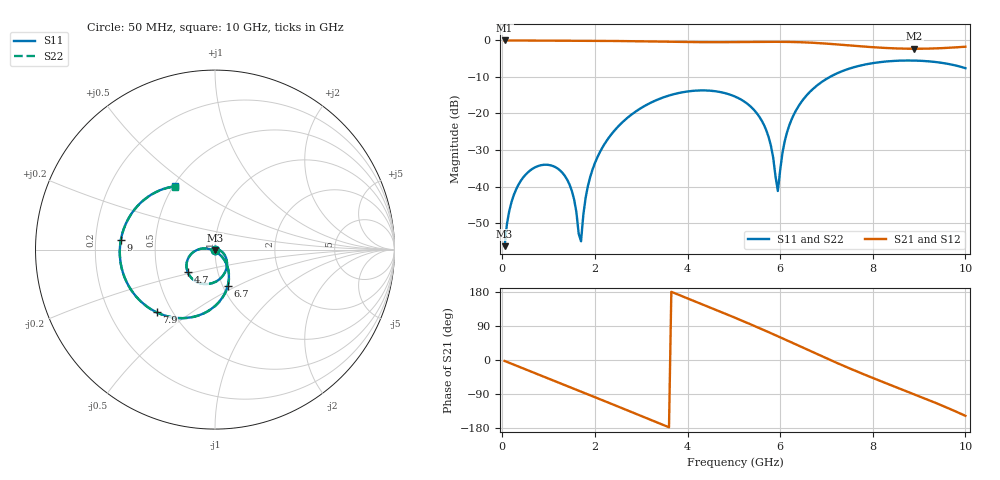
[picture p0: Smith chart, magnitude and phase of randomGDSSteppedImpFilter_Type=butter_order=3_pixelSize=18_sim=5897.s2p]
! freq	dB(S11)	phase(S11)	dB(S12)	phase(S12)
!  dB(S21)	phase(S21)	dB(S22)	phase(S22)
!S-par simulation data
#  GHz  S  DB  R 50
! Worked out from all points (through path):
!   200 points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, 50 MHz to 10 GHz, reference 50 ohm
!   highest |S21| = -0.01 dB at 50 MHz (marker M1); lowest = -2.3 dB at 8.9 GHz (marker M2)
!   group delay of S21, straight-line fit = 142 ps
!   lowest |S11| = -56.3 dB at 50 MHz (marker M3), VSWR 1.00, Z = 50 - j0.153 ohm
!   |S11| at or under -10 dB: start of sweep to 7.073 GHz
!   |S22| runs from -56.3 to -5.5 dB; largest |S21 - S12| = 0
!   S11 on the Smith chart (normalised r, x): 50 MHz: 1.00, -0.00; 4.7 GHz: 0.72, -0.19; 6.7 GHz: 1.05, -0.45; 7.9 GHz: 0.41, -0.37; 9 GHz: 0.31, +0.05; 10 GHz: 0.51, +0.44
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0.05  -56.31 -89.0  -0.01 -2.5  -0.01 -2.5  -56.31 -89.0
0.25  -42.26 -100.2  -0.02 -12.3  -0.02 -12.3  -42.26 -100.2
0.75  -34.49 -127.2  -0.04 -36.7  -0.04 -36.7  -34.49 -127.2
1.4  -38.08 -163.9  -0.08 -68.5  -0.08 -68.5  -38.08 -163.9
1.7  -54.97 66.3  -0.09 -83.3  -0.09 -83.3  -54.93 66.5
1.75  -47.73 25.3  -0.10 -85.7  -0.10 -85.7  -47.72 25.4
1.95  -35.27 -0.6  -0.11 -95.6  -0.11 -95.6  -35.28 -0.5
2.25  -27.53 -18.4  -0.13 -110.4  -0.13 -110.4  -27.53 -18.4
3.4  -15.96 -77.0  -0.32 -167.6  -0.32 -167.6  -15.96 -77.0
4.7  -14.11 -140.5  -0.49 128.0  -0.49 128.0  -14.11 -140.6
5.05  -15.50 -157.6  -0.46 110.3  -0.46 110.3  -15.50 -157.7
5.65  -23.11 175.3  -0.39 78.9  -0.39 78.9  -23.13 174.8
5.8  -28.78 173.4  -0.38 70.8  -0.38 70.8  -28.82 172.4
5.95  -41.21 -107.7  -0.38 62.7  -0.38 62.7  -41.86 -106.9
6.05  -30.76 -48.8  -0.39 57.2  -0.39 57.2  -30.81 -47.3
6.2  -23.14 -47.5  -0.41 48.9  -0.41 48.9  -23.15 -46.8
6.7  -13.38 -70.8  -0.64 21.0  -0.64 21.0  -13.38 -70.5
7.9  -6.43 -132.8  -1.77 -42.4  -1.77 -42.4  -6.43 -132.7
8.35  -5.70 -154.7  -2.11 -64.4  -2.11 -64.4  -5.70 -154.5
8.9  -5.52 179.0  -2.28 -90.7  -2.28 -90.7  -5.51 179.2
9  -5.56 174.1  -2.28 -95.6  -2.28 -95.6  -5.56 174.3
10  -7.60 122.1  -1.72 -147.3  -1.72 -147.3  -7.60 122.6
